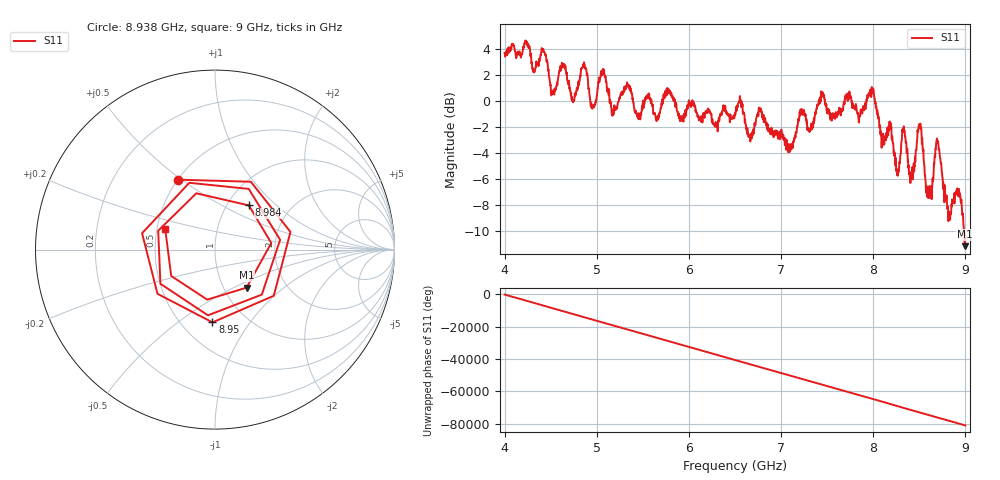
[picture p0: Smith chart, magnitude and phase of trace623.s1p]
! Created with skrf 1.8.0 (http://scikit-rf.org).
# Hz S RI R 50.0
!freq ReS11 ImS11
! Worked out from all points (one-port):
!   1601 points, 4 GHz to 9 GHz, reference 50 ohm
!   lowest |S11| = -11.2 dB at 8.991 GHz (marker M1), VSWR 1.76, Z = 63.8 - j29.3 ohm
!   |S11| at or under -10 dB: 8.983078 GHz to end of sweep
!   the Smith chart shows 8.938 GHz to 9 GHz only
!   S11 on the Smith chart (normalised r, x): 8.938 GHz: 0.50, +0.48; 8.95 GHz: 0.70, -0.68; 8.984 GHz: 1.26, +0.68; 9 GHz: 0.55, +0.14
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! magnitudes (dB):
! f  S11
! 4 GHz  3.7
! 4.422 GHz  3.9
! 4.528 GHz  0.5
! 4.625 GHz  2.8
! 4.741 GHz  0.0
! 4.859 GHz  2.6
! 4.956 GHz  -0.5
! 5.062 GHz  2.0
! 5.25 GHz  0.2
! 5.875 GHz  -0.9
! 6.5 GHz  -0.9
! 7.125 GHz  -3.4
! 7.225 GHz  -0.6
! 7.75 GHz  0.3
! 7.991 GHz  0.9
! 8.259 GHz  -5.7
! 8.328 GHz  -2.1
! 8.375 GHz  -4.7
! 8.425 GHz  -5.1
! 8.506 GHz  -2.1
! 8.597 GHz  -7.5
! 8.694 GHz  -3.3
! 8.822 GHz  -8.9
! 8.938 GHz  -7.1
! 8.95 GHz  -7.8
! 8.984 GHz  -10.2
! 8.991 GHz  -11.2
! 9 GHz  -10.5
